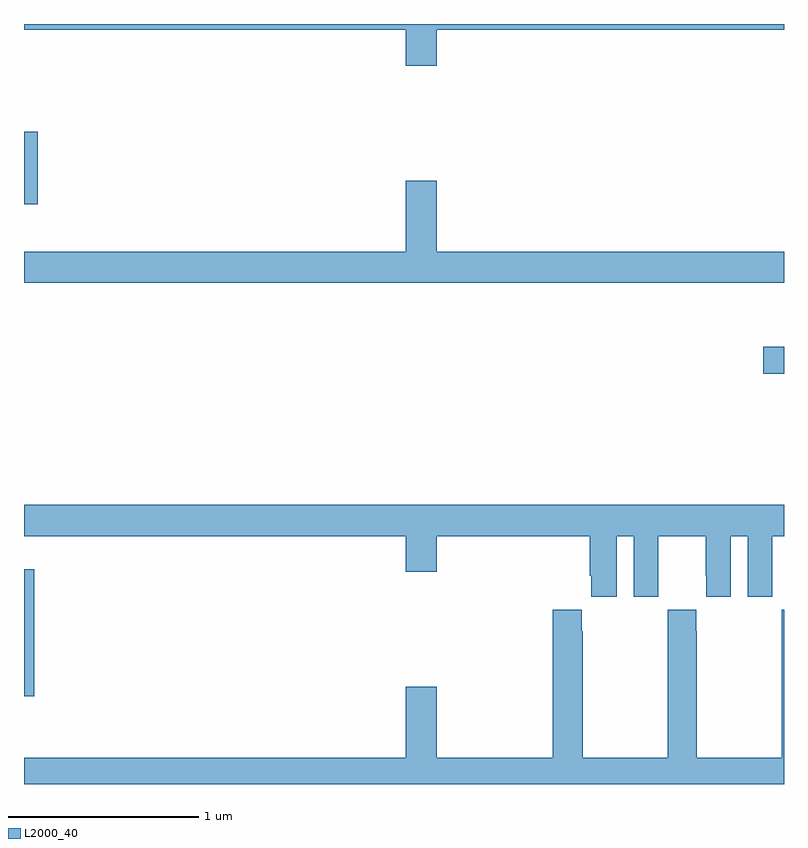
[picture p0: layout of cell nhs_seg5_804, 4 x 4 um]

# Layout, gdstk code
import gdstk
lib = gdstk.Library(unit=1e-6, precision=1e-09)
def R(c, l, rs):  # rectangles x0, y0, x1, y1
    for r in rs: c.add(gdstk.rectangle(r[:2], r[2:], *l))
def P(c, l, *ps):  # polygons
    for p in ps: c.add(gdstk.Polygon(p, *l))
L2000_40 = (2000, 40)

nhs_seg5_804 = lib.new_cell('nhs_seg5_804')
R(nhs_seg5_804, L2000_40, [(163,845.262,163.055,845.929), (166.89,846.959,167,847.101), (163,847.851,163.073,848.232)])
P(nhs_seg5_804, L2000_40, [(165.172,848.768),(167,848.768),(167,848.799),(163,848.799),(163,848.768),(165.008,848.768),(165.008,848.58),(165.172,848.58)],
  [(167,847.6),(165.172,847.6),(165.172,847.975),(165.008,847.975),(165.008,847.6),(163,847.6),(163,847.436),(167,847.436)],
  [(166.12,846.104),(166.208,846.104),(166.208,845.784),(166.338,845.784),(166.338,845.896),(166.339,845.896),(166.339,846.104),(166.589,846.104),(166.589,845.896),(166.59,845.896),(166.59,845.784),(166.72,845.784),(166.72,846.104),(166.808,846.104),(166.808,845.784),(166.938,845.784),(166.938,845.896),(166.939,845.896),(166.939,846.104),(167,846.104),(167,846.268),(163,846.268),(163,846.104),(165.008,846.104),(165.008,845.916),(165.172,845.916),(165.172,846.104),(165.977,846.104),(165.977,845.896),(165.986,845.896),(165.986,845.784),(166.12,845.784)],
  [(167,845.716),(166.989,845.716),(166.989,845.603),(166.987,845.603),(166.987,844.936),(166.542,844.936),(166.542,845.603),(166.539,845.603),(166.539,845.716),(166.389,845.716),(166.389,845.603),(166.387,845.603),(166.387,844.936),(165.942,844.936),(165.942,845.603),(165.935,845.603),(165.935,845.716),(165.782,845.716),(165.782,844.936),(165.172,844.936),(165.172,845.311),(165.008,845.311),(165.008,844.936),(163,844.936),(163,844.799),(167,844.799)])

lib.write_gds('nhs_seg5_804.gds')
